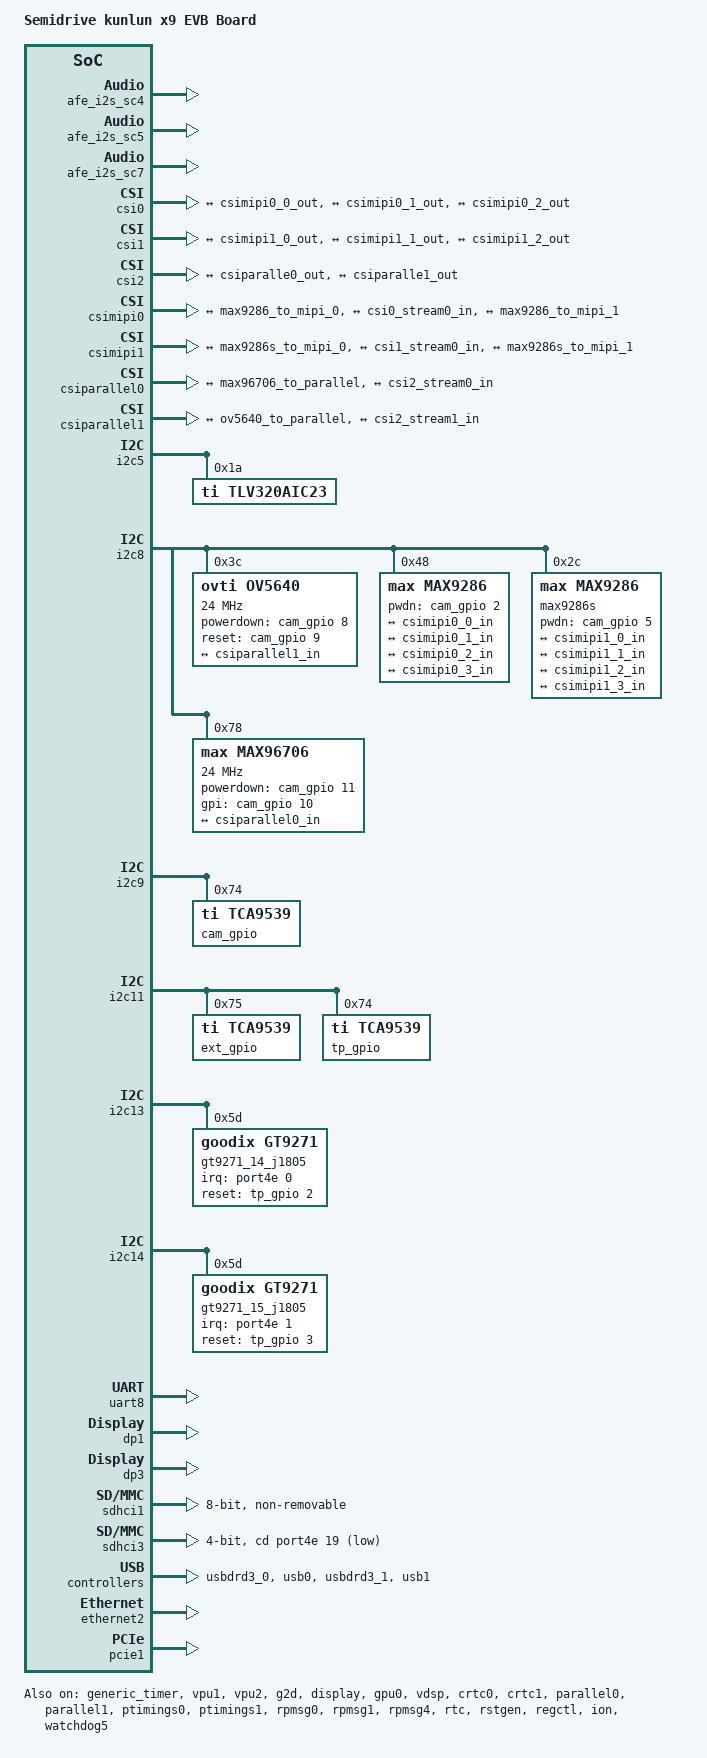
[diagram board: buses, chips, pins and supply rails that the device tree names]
/*
 * Semidrive kunlun platform DTS file
 *
 * Copyright (C) 2019, Semidrive  Communications Inc.
 *
 * This file is licensed under a dual GPLv2 or X11 license.
 */

/dts-v1/;

#include "../x9_high-plus_ecockpit.dtsi"
#include "x9_high-plus_evb_ivi-clk-ctrl.dtsi"
#include "../lcd-timings.dtsi"
#include <dt-bindings/pinctrl/pins-sdx9.h>
#include <dt-bindings/memmap/x9_high-plus/projects/default/image_cfg.h>
#include <dt-bindings/memory/sdrv_ion.h>
#include <dt-bindings/rpmsg/sd,x9hp-ap1.h>

/ {
	model = "Semidrive kunlun x9 EVB Board";

	compatible = "semidrive,kunlun";

	aliases {
		serial0 = &uart8;
		ethernet2 = &ethernet2;
	};

	memory@50000000 {
		device_type = "memory";
		reg = <HIGH32(AP1_KERNEL_MEMBASE-0x80000) LOW32(AP1_KERNEL_MEMBASE-0x80000) HIGH32(AP1_KERNEL_MEMSIZE) LOW32(AP1_KERNEL_MEMSIZE) \
		       0x0 (VDSP_SHARE_MEMBASE+0x4000) 0x0 (VDSP_SHARE_MEMSIZE-0x4000)>;
	};

	reserved-memory {
		#address-cells = <2>;
		#size-cells = <2>;
		ranges;

		/* Default Common CMA Pool */
		/* QUIRK: Must be kept in the lower 4096 MiBs of DRAM banks for VE */
		linux,cma {
			compatible = "shared-dma-pool";
			reusable;
			size = <0x0 0x10000000>; /* 256MB */
			/* 4GB maximum in case of 32-bit only capable devices */
			alloc-ranges = <0x0 0x0 0x0 0xb0000000>;
			linux,cma-default;
		};

		rproc_0_safety: rproc@0 {
			compatible = "shared-dma-pool";
			no-map;
			reg = <0x0 RPMSG0_MEM_POOL_BASE 0x0 RPMSG0_MEM_POOL_SIZE>;
		};

		rproc_1_secure: rproc@1 {
			compatible = "shared-dma-pool";
			no-map;
			reg = <0x0 RPMSG1_MEM_POOL_BASE 0x0 RPMSG1_MEM_POOL_SIZE>;
		};

		rproc_ap: rproc@3 {
			compatible = "shared-dma-pool";
			no-map;
			reg = <0x0 RPMSG3_MEM_POOL_BASE 0x0 RPMSG3_MEM_POOL_SIZE>;
		};

		memdisk_reserved: memdisk@80000000 {
			reg = <0x0 0x80000000 0x0 0x80000000>;
			no-map;
			status = "disabled";
		};

		xrp_reserved: xrp@0 {
			compatible = "shared-dma-pool";
			status = "okay";
			no-map;
			reg = <0x0 VDSP_SHARE_MEMBASE 0x0 0x4000>;
		};

		xrp_shared: xrp,shmem {
			reg = <0x0 (VDSP_SHARE_MEMBASE+0x4000) 0x0 (VDSP_SHARE_MEMSIZE-0x4000)>;
		};

	};

	chosen {
		bootargs = "root=/dev/ram0 rootfstype=ramfs highres=1 earlycon loglevel=4 console=ttyS0,115200n8 androidboot.mode=normal androidboot.selinux=permissive androidboot.debuggable=0 androidboot.dm_verity=disable init=/init";
		stdout-path = "serial0";
		linux,initrd-start = <AP1_BOARD_RAMDISK_MEMBASE>;
		linux,initrd-end   = <AP1_BOARD_RAMDISK_MEMSIZE>;
	};
	sound_tlv320aic23: sound@tlv320aic23 {
		compatible = "semidrive,x9-tlv320aic23";
		semidrive,hp-spk-amp-warmup-time-us = <1>;
		semidrive,hp-spk-amp-shutdown-time-us = <800>;
		semidrive,audio-codec = <&tlv320aic23>;
		//jack-gpio = <&ext_gpio 4 GPIO_ACTIVE_HIGH>;
		//pinctrl-names = "default", "extamp_on", "extamp_off";
		//pinctrl-0 = <&aud_pins_default>;
		//pinctrl-1 = <&aud_pins_extamp_on>;
		//pinctrl-2 = <&aud_pins_extamp_off>;
		status = "okay";
	};

	memdisk: memdisk@0 {
		#address-cells = <2>;
		#size-cells = <2>;
		compatible = "semidrive,memdisk";
		memory-region = <&memdisk_reserved>;
		status = "disabled";
	};

};

&dmac4 {
	status = "okay";
};

&dmac5 {
	status = "okay";
};

&dmac6 {
	status = "okay";
};

&afe_i2s_sc4 {
	status = "okay";
};

&afe_i2s_sc5{
	dmas = <&dmac4 X9_DMA_SLV_ID_I2S_SC6_TX>, <&dmac4 X9_DMA_SLV_ID_I2S_SC6_RX>;
	dma-names = "tx", "rx";
	status = "okay";
};

&afe_i2s_sc7{
	dmas = <&dmac4 X9_DMA_SLV_ID_I2S_SC8_TX>, <&dmac4 X9_DMA_SLV_ID_I2S_SC8_RX>;
	dma-names = "tx", "rx";
	status = "okay";
};


&csi0 {
	mbus-type = "mipi-csi2";
	pclk-sample = <1>;
	status = "okay";
	sync = <0>;

	ports {
		csi0_stream0: port@0 {
			csi0_stream0_in: endpoint@0 {
				remote-endpoint = <&csimipi0_0_out>;
			};
		};
		csi0_stream1: port@1 {
			csi0_stream1_in: endpoint@0 {
				remote-endpoint = <&csimipi0_1_out>;
			};
		};
		csi0_stream2: port@2 {
			csi0_stream2_in: endpoint@0 {
				remote-endpoint = <&csimipi0_2_out>;
			};
		};
		csi0_stream3: port@3 {
			csi0_stream3_in: endpoint@0 {
				remote-endpoint = <&csimipi0_3_out>;
			};
		};
	};
};
&csi1 {
	mbus-type = "mipi-csi2";
	pclk-sample = <1>;
	status = "okay";

	ports {
		csi1_stream0: port@0 {
			csi1_stream0_in: endpoint@0 {
				remote-endpoint = <&csimipi1_0_out>;
			};
		};
		csi1_stream1: port@1 {
			csi1_stream1_in: endpoint@0 {
				remote-endpoint = <&csimipi1_1_out>;
			};
		};
		csi1_stream2: port@2 {
			csi1_stream2_in: endpoint@0 {
				remote-endpoint = <&csimipi1_2_out>;
			};
		};
		csi1_stream3: port@3 {
			csi1_stream3_in: endpoint@0 {
				remote-endpoint = <&csimipi1_3_out>;
			};
		};
	};
};
&csi2 {
	mbus-type = "parallel";
	pclk-sample = <1>;
	status = "okay";

	ports {
		csi2_stream0: port@0 {
			csi2_stream0_in: endpoint@0 {
				remote-endpoint = <&csiparalle0_out>;
			};
		};

		csi2_stream1: port@1 {
			csi2_stream1_in: endpoint@0 {
				remote-endpoint = <&csiparalle1_out>;
			};
		};
	};
};
&csimipi0 {
	status = "okay";
	lanerate = <72000000>;
	hsa = <10>;
	hbp = <20>;
	hsd = <0x60>;
	output-type = <0x1e>;
	sync = <0>;

	ports {
		#address-cells = <1>;
		#size-cells = <0>;

		port@0 {
			#address-cells = <1>;
			#size-cells = <0>;
			reg = <0>;
			csimipi0_0_in: endpoint@0 {
				remote-endpoint = <&max9286_to_mipi_0>;
				reg = <0>;
			};
			csimipi0_0_out: endpoint@1 {
				remote-endpoint = <&csi0_stream0_in>;
				reg = <0>;
			};
		};
		port@1 {
			#address-cells = <1>;
			#size-cells = <0>;
			reg = <1>;
			csimipi0_1_in: endpoint@0 {
				remote-endpoint = <&max9286_to_mipi_1>;
				reg = <1>;
			};
			csimipi0_1_out: endpoint@1 {
				remote-endpoint = <&csi0_stream1_in>;
				reg = <1>;
			};
		};
		port@2 {
			#address-cells = <1>;
			#size-cells = <0>;
			reg = <2>;
			csimipi0_2_in: endpoint@0 {
				remote-endpoint = <&max9286_to_mipi_2>;
				reg = <2>;
			};
			csimipi0_2_out: endpoint@1 {
				remote-endpoint = <&csi0_stream2_in>;
				reg = <2>;
			};
		};
		port@3 {
			#address-cells = <1>;
			#size-cells = <0>;
			reg = <3>;
			csimipi0_3_in: endpoint@0 {
				remote-endpoint = <&max9286_to_mipi_3>;
				reg = <3>;
			};
			csimipi0_3_out: endpoint@1 {
				remote-endpoint = <&csi0_stream3_in>;
				reg = <3>;
			};
		};
	};
};
&csimipi1 {
	status = "okay";
	lanerate = <72000000>;
	hsa = <10>;
	hbp = <20>;
	hsd = <0x60>;
	output-type = <0x1e>;

	ports {
		#address-cells = <1>;
		#size-cells = <0>;

		port@0 {
			#address-cells = <1>;
			#size-cells = <0>;
			reg = <0>;
			csimipi1_0_in: endpoint@0 {
				remote-endpoint = <&max9286s_to_mipi_0>;
				reg = <0>;
			};
			csimipi1_0_out: endpoint@1 {
				remote-endpoint = <&csi1_stream0_in>;
				reg = <0>;
			};
		};
		port@1 {
			#address-cells = <1>;
			#size-cells = <0>;
			reg = <1>;
			csimipi1_1_in: endpoint@0 {
				remote-endpoint = <&max9286s_to_mipi_1>;
				reg = <1>;
			};
			csimipi1_1_out: endpoint@1 {
				remote-endpoint = <&csi1_stream1_in>;
				reg = <1>;
			};
		};
		port@2 {
			#address-cells = <1>;
			#size-cells = <0>;
			reg = <2>;
			csimipi1_2_in: endpoint@0 {
				remote-endpoint = <&max9286s_to_mipi_2>;
				reg = <2>;
			};
			csimipi1_2_out: endpoint@1 {
				remote-endpoint = <&csi1_stream2_in>;
				reg = <2>;
			};
		};
		port@3 {
			#address-cells = <1>;
			#size-cells = <0>;
			reg = <3>;
			csimipi1_3_in: endpoint@0 {
				remote-endpoint = <&max9286s_to_mipi_3>;
				reg = <3>;
			};
			csimipi1_3_out: endpoint@1 {
				remote-endpoint = <&csi1_stream3_in>;
				reg = <3>;
			};
		};
	};
};
&csiparallel0 {
	status = "okay";
	#address-cells = <1>;
	#size-cells = <0>;

	port {
		#address-cells = <1>;
		#size-cells = <0>;
		reg = <0>;
		csiparallel0_in: endpoint@0 {
			remote-endpoint = <&max96706_to_parallel>;
		};

		csiparallel0_out: endpoint@1 {
			remote-endpoint = <&csi2_stream0_in>;
		};
	};
};
&csiparallel1 {
	status = "okay";
	#address-cells = <1>;
	#size-cells = <0>;

	port {
		#address-cells = <1>;
		#size-cells = <0>;
		reg = <1>;
		csiparallel1_in: endpoint@0 {
			remote-endpoint = <&ov5640_to_parallel>;
		};

		csiparallel1_out: endpoint@1 {
			remote-endpoint = <&csi2_stream1_in>;
		};
	};
};

&i2c5 {
        status = "okay";
	tlv320aic23: codec@1a {
		compatible = "ti,tlv320aic23";
		reg = <0x1a>;
	};
	/*
	tlv320aic23: codec@1b {
		compatible = "ti,tlv320aic23";
		reg = <0x1b>;
	}; */
};

&i2c8 {
        status = "okay";

		ov5640:ov5640@3c {
			compatible = "ovti,ov5640";
			clocks = <&CSI_MCLK1>;
			clock-names = "csi-mclk";
			clock-frequency = <24000000>;
			reg = <0x3c>;
			powerdown-gpios = <&cam_gpio 8 0>;
			reset-gpios = <&cam_gpio 9 0>;
			port {
				#address-cells = <1>;
				#size-cells = <0>;

				ov5640_to_parallel: endpoint {
					remote-endpoint = <&csiparallel1_in>;
				};
			};
		};

		max9286:max9286@48 {
			compatible = "max,max9286";
			reg = <0x48>;
			pwdn-gpios = <&cam_gpio 2 0>;
			sync = <0>;
			addr_20086 = /bits/ 16 <0x28>;
			addr_96705 = /bits/ 16 <0x40>;
			addr_0101 = /bits/ 16 <0x5d>;

			ports {
				port@0 {
					#address-cells = <1>;
					#size-cells = <0>;

					max9286_to_mipi_0: endpoint {
						remote-endpoint = <&csimipi0_0_in>;
					};
				};
				port@1 {
					#address-cells = <1>;
					#size-cells = <0>;

					max9286_to_mipi_1: endpoint {
						remote-endpoint = <&csimipi0_1_in>;
					};
				};
				port@2 {
					#address-cells = <1>;
					#size-cells = <0>;

					max9286_to_mipi_2: endpoint {
						remote-endpoint = <&csimipi0_2_in>;
					};
				};
				port@3 {
					#address-cells = <1>;
					#size-cells = <0>;

					max9286_to_mipi_3: endpoint {
						remote-endpoint = <&csimipi0_3_in>;
					};
				};
			};
		};

		max9286s:max9286s@2c {
			compatible = "max,max9286";
			reg = <0x2c>;
			pwdn-gpios = <&cam_gpio 5 0>;
			addr_20086 = /bits/ 16 <0x29>;
			addr_96705 = /bits/ 16 <0x40>;
			addr_0101 = /bits/ 16 <0x5d>;

			ports {
				port@0 {
					#address-cells = <1>;
					#size-cells = <0>;

					max9286s_to_mipi_0: endpoint {
						remote-endpoint = <&csimipi1_0_in>;
					};
				};
				port@1 {
					#address-cells = <1>;
					#size-cells = <0>;

					max9286s_to_mipi_1: endpoint {
						remote-endpoint = <&csimipi1_1_in>;
					};
				};
				port@2 {
					#address-cells = <1>;
					#size-cells = <0>;

					max9286s_to_mipi_2: endpoint {
						remote-endpoint = <&csimipi1_2_in>;
					};
				};
				port@3 {
					#address-cells = <1>;
					#size-cells = <0>;

					max9286s_to_mipi_3: endpoint {
						remote-endpoint = <&csimipi1_3_in>;
					};
				};
			};
		};

		max96706:max96706@78 {
			compatible = "max,max96706";
			clock-frequency = <24000000>;
			reg = <0x78>;
			powerdown-gpios = <&cam_gpio 11 0>;
			gpi-gpios = <&cam_gpio 10 0>;
			port {
				#address-cells = <1>;
				#size-cells = <0>;

				max96706_to_parallel: endpoint {
					remote-endpoint = <&csiparallel0_in>;
				};
			};
		};
};

&i2c9 {
        status = "okay";

	cam_gpio: gpio@74 {
		compatible = "ti,tca9539";
		reg = <0x74>;
		#gpio-cells = <2>;
		gpio-controller;
	};
};

&i2c10 {
        status = "disabled";
	gt9271_11_j2003:gt9271_11_j2003@5d {
		//pinctrl-names = "default";
		//pinctrl-0 = <&pinctrl_gpiotouch_mipi>;
		compatible = "goodix,gt9271";
		irq-gpios = <&port4d 8 0>;	/*io56*/
		reset-gpios = <&tp_gpio 1 0>;	/*index 1*/
		reg = <0x5d>;
	};
};

&i2c11 {
        status = "okay";
	ext_gpio: gpio@75 {
		compatible = "ti,tca9539";
		reg = <0x75>;
		#gpio-cells = <2>;
		gpio-controller;
	};
	tp_gpio: gpio@74 {
		compatible = "ti,tca9539";
		reg = <0x74>;
		#gpio-cells = <2>;
		gpio-controller;
	};
};

&i2c12 {
	status = "disabled";
};

&i2c13 {
        status = "okay";
	gt9271_14_j1805:gt9271_14_j1805@5d {
                //pinctrl-names = "default";
                //pinctrl-0 = <&pinctrl_gpiotouch_lvds>;
                compatible = "goodix,gt9271";
		irq-gpios = <&port4e 0 0>;	/*io80*/
                reset-gpios = <&tp_gpio 2 0>;	/*index 2*/
                reg = <0x5d>;
		dev_type = <0>;	/* 0: main device, 1: aux device */
        };

};

&i2c14 {
	status = "okay";
	gt9271_15_j1805:gt9271_15_j1805@5d {
		//pinctrl-names = "default";
		//pinctrl-0 = <&pinctrl_gpiotouch_lvds>;
		compatible = "goodix,gt9271";
		irq-gpios = <&port4e 1 0>;	/*io81*/
		reset-gpios = <&tp_gpio 3 0>;		/*index 3*/
		reg = <0x5d>;
		dev_type = <1>;	/* 0: main device, 1: aux device */
	};
};

&i2c15 {
	status = "disabled";
	gt9271_16_j2003:gt9271_16_j2003@5d {
		//pinctrl-names = "default";
		//pinctrl-0 = <&pinctrl_gpiotouch_mipi>;
		compatible = "goodix,gt9271";
		irq-gpios = <&port4d 9 0>;	/*io57*/
		reset-gpios = <&tp_gpio 8 0>;	/*index 8*/
		reg = <0x5d>;
	};
};

&spi4 {
	status = "disabled";
};

&spi5 {
	status = "disabled";
};

&spi6 {
	status = "disabled";
};

&spi7 {
	status = "disabled";
};

&uart8 {
	dmas = <&dmac4 X9_DMA_SLV_ID_UART9_TX>, <&dmac4 X9_DMA_SLV_ID_UART9_RX>;
	dma-names = "tx", "rx";
	status = "okay";
};

&generic_timer {
	status = "okay";
};

&vpu1 {
	resets = <&rstgen RSTGEN_MODULE_VPU1>;
	reset-names = "vpu-reset";
	status = "okay";
};

&vpu2 {
	resets = <&rstgen RSTGEN_MODULE_VPU2>;
	reset-names = "vpu-reset";
	status = "okay";
};

&g2d {
	status = "okay";
};

&display {
	sdriv,crtc = <&crtc0 &crtc1>;
	status = "okay";
};

&gpu0 {
	status = "okay";
};

&vdsp {
	reg = <0x0 VDSP_SHARE_MEMBASE 0x0 0x1000>, /* DSP command queue */
	      <0x0 (VDSP_SHARE_MEMBASE+0x4000) 0x0 (VDSP_SHARE_MEMSIZE-0x4000)>, /* DSP shared memory */
	      <0x0 0x34040000 0x0 0x1000>, /* vdsp mu base address, pass to vdsp, won't map */
	      <0x0 0x38316000 0x0 0x1000>, /* scr 0x458 */
	      <0x0 0x3839e000 0x0 0x1000>, /* scr 0x678 */
	      <0x0 0x38401000 0x0 0x2000>, /* rstgen core 0 */
	      <0x0 0x38466000 0x0 0x1000>; /* rstgen module 38 */
	firmware-name = "xtensa.elf";
	firmware-entry = <VDSP_MEMBASE>;
	/*data ram0, data ram1, system ram, shared ram*/
	ranges = <0x0 0x00a00000 0x0 0x00a00000 0x0 0x00020000
		  0x0 0x00a20000 0x0 0x00a20000 0x0 0x00020000
		  0x0 VDSP_MEMBASE 0x0 VDSP_MEMBASE 0x0 VDSP_MEMSIZE
		  0x0 LOW32(AP1_KERNEL_MEMBASE-0x80000) 0x0 LOW32(AP1_KERNEL_MEMBASE-0x80000) 0x0 LOW32(0x100000000-AP1_KERNEL_MEMBASE+0x80000)
		  0x0 VDSP_SHARE_MEMBASE 0x0 VDSP_SHARE_MEMBASE 0x0 VDSP_SHARE_MEMSIZE>;
	status = "okay";
};

&dp1 {
	status = "okay";
};

&dp3 {
	status = "okay";
};

&crtc0 {
	dpc-master = <&dp1>;
	status = "okay";
};

&crtc1 {
	dpc-master = <&dp3>;
	status = "okay";
};

&parallel0 {
	status = "okay";
};

&parallel1 {
	status = "okay";
};

&dtimings0 {
	native-mode = <&hd1280x800>;
};

&dtimings1 {
	native-mode = <&hd1280x800_1>;
};

&ptimings0 {
	status = "okay";
};

&ptimings1 {
	status = "okay";
};

&pinctrl {
	reg = <0x0 0x37000000 0x0 0x10000>;
	pinctrl-names = "default";

	sdx9-evk {
		pinctrl_mshc1: mshc1grp {
		kunlun,pins = <
			X9_PINCTRL_EMMC1_CLK__MSHC1_CLK_1	X9_PINCTRL_OPEN_DRAIN_DISABLE
			X9_PINCTRL_EMMC1_CMD__MSHC1_CMD_1	X9_PINCTRL_OPEN_DRAIN_DISABLE
			X9_PINCTRL_EMMC1_DATA0__MSHC1_DATA_0_1	X9_PINCTRL_OPEN_DRAIN_DISABLE
			X9_PINCTRL_EMMC1_DATA1__MSHC1_DATA_1_1	X9_PINCTRL_OPEN_DRAIN_DISABLE
			X9_PINCTRL_EMMC1_DATA2__MSHC1_DATA_2_1	X9_PINCTRL_OPEN_DRAIN_DISABLE
			X9_PINCTRL_EMMC1_DATA3__MSHC1_DATA_3_1	X9_PINCTRL_OPEN_DRAIN_DISABLE
			X9_PINCTRL_EMMC1_DATA4__MSHC1_DATA_4_1	X9_PINCTRL_OPEN_DRAIN_DISABLE
			X9_PINCTRL_EMMC1_DATA5__MSHC1_DATA_5_1	X9_PINCTRL_OPEN_DRAIN_DISABLE
			X9_PINCTRL_EMMC1_DATA6__MSHC1_DATA_6_1	X9_PINCTRL_OPEN_DRAIN_DISABLE
			X9_PINCTRL_EMMC1_DATA7__MSHC1_DATA_7_1	X9_PINCTRL_OPEN_DRAIN_DISABLE
			X9_PINCTRL_EMMC1_STROBE__MSHC1_STB_1	X9_PINCTRL_OPEN_DRAIN_ENABLE
			X9_PINCTRL_EMMC1_RESET_N__MSHC1_RST_N_1	X9_PINCTRL_OPEN_DRAIN_DISABLE
			>;
		};

		pinctrl_gpiotouch_lvds: touchgrp_lvds {
                        kunlun,pins = <
			X9_PINCTRL_I2S_MC_SD4__GPIO_MUX2_IO80_1          0x00
			X9_PINCTRL_I2S_MC_SD5__GPIO_MUX2_IO81_1          0x00
                        X9_PINCTRL_I2S_MC_SD6__GPIO_MUX2_IO82_1          0x00
                        X9_PINCTRL_I2S_MC_SD7__GPIO_MUX2_IO83_1          0x00
                        >;
                };
		pinctrl_gpiotouch_mipi: touchgrp_mipi {
                        kunlun,pins = <
			X9_PINCTRL_I2S_SC3_SCK__GPIO_MUX2_IO56_1          0x00
			X9_PINCTRL_I2S_SC3_WS__GPIO_MUX2_IO57_1          0x00
                        >;
                };
		pinctrl_sddetect: sddetect {
			kunlun,pins = <
			X9_PINCTRL_EMMC2_DATA1__GPIO_MUX2_IO99_1	X9_PINCTRL_OPEN_DRAIN_ENABLE
			>;
		};
	};
};

&gpio4 {
	//pinctrl-names = "default";
	//pinctrl-0 = <&pinctrl_gpiotouch_lvds &pinctrl_gpiotouch_mipi>;
	status = "okay";
};

&sdhci1 {
	bus-width = <8>;
	non-removable;
	no-sdio;
	no-sd;
	card-is-emmc;
	disable-wp;
	cap-mmc-highspeed;
	keep-power-in-suspend;
	mmc-ddr-1_8v;
	mmc-hs200-1_8v;
	mmc-hs400-1_8v;
	mmc-hs400-enhanced-strobe;
	status = "okay";
};

&sdhci3 {
	#clock-cells = <1>;
	clocks = <&EMMC3>;
	clock-names = "core";
	max-frequency = <25000000>;
	//pinctrl-names = "default";
	//pinctrl-0 = <&pinctrl_sddetect>;
	cd-gpios = <&port4e 19 GPIO_ACTIVE_LOW>;
	bus-width = <4>;
	no-1-8-v;
	no-mmc;
	no-sdio;
	disable-wp;
	keep-power-in-suspend;
	status = "okay";
};

&mbox {
	status = "okay";
};

&mbox_test {
	status = "okay";
};

&rpmsg0 {
	memory-region = <&rproc_0_safety>;
	reg = <0x0 RPMSG0_MEM_HEAD_BASE 0x0 RPMSG0_MEM_HEAD_SIZE>;
	status = "okay";
};

&rpmsg1 {
	memory-region = <&rproc_1_secure>;
	reg = <0x0 RPMSG1_MEM_HEAD_BASE 0x0 RPMSG1_MEM_HEAD_SIZE>;
	status = "okay";
};

&rpmsg4 {
	memory-region = <&rproc_ap>;
	reg = <0x0 RPMSG3_MEM_HEAD_BASE 0x0 RPMSG3_MEM_HEAD_SIZE>;
	status = "okay";
};

&ipcc0 {
	status = "okay";
};

&ipcc1 {
	status = "okay";
};

&ipcc4 {
	status = "okay";
};

&smmu {
	status = "disabled";
};

&rtc {
	status = "okay";
};

&usbdrd3_0 {
	status = "okay";
};

&usb0 {
	status = "okay";
};

&usbdrd3_1 {
	status = "okay";
};

&usb1 {
	status = "okay";
};

&ethernet2 {
	status = "okay";
};

&rstgen {
	reg = <0x0 0x38467000 0x0 0x1000>,	/* vpu1 */
		<0x0 0x38468000 0x0 0x1000>,	/* vpu2 */
		<0x0 0x38490000 0x0 0x1000>,	/* gpu1 core */
		<0x0 0x38491000 0x0 0x1000>,	/* gpu1 ss */
		<0x0 0x38461000 0x0 0x1000>,	/* GIC4 */
		<0x0 0x38455000 0x0 0x1000>,	/* cpu1 core0 warm */
		<0x0 0x38456000 0x0 0x1000>,	/* cpu1 core1 warm */
		<0x0 0x38457000 0x0 0x1000>,	/* cpu1 core2 warm */
		<0x0 0x38458000 0x0 0x1000>,	/* cpu1 core3 warm */
		<0x0 0x38459000 0x0 0x1000>,	/* cpu1 core4 warm */
		<0x0 0x3845a000 0x0 0x1000>,	/* cpu1 core5 warm */
		<0x0 0x3845b000 0x0 0x1000>,	/* cpu1 scu warm */
		<0x0 0x3846d000 0x0 0x1000>,	/* cpu1 ss */
		<0x0 0x38407000 0x0 0x2000>;	/* cpu1 all core */
	rstgen_resource = <
		RSTGEN_MODULE_VPU1
		RSTGEN_MODULE_VPU2
		RSTGEN_MODULE_GPU1_CORE
		RSTGEN_MODULE_GPU1_SS
		RSTGEN_MODULE_GIC4
		RSTGEN_MODULE_CPU1_CORE0_WARM
		RSTGEN_MODULE_CPU1_CORE1_WARM
		RSTGEN_MODULE_CPU1_CORE2_WARM
		RSTGEN_MODULE_CPU1_CORE3_WARM
		RSTGEN_MODULE_CPU1_CORE4_WARM
		RSTGEN_MODULE_CPU1_CORE5_WARM
		RSTGEN_MODULE_CPU1_SCU_WARM
		RSTGEN_MODULE_CPU1_SS
		RSTGEN_CORE_CPU1_ALL
		>;
	status = "okay";
};

&regctl {
	reg = <0x0 0x38415000 0x0 0x1000>,
		<0x0 0x38418000 0x0 0x1000>,
		<0x0 0x38419000 0x0 0x1000>,
		<0x0 0x3841a000 0x0 0x1000>;
	reg-names = "SDRV_REG_REMAP",
			"SDRV_REG_BOOTREASON",
			"SDRV_REG_HWID",
			"SDRV_REG_STATUS";
	status = "okay";
};

&ion {
	status = "okay";
};

&pcie1 {
       status = "okay";
};

&watchdog5 {
	wdt,auto-run = "false";
	status = "okay";
};
